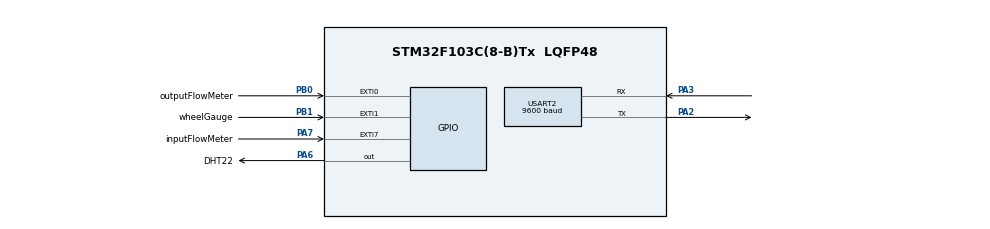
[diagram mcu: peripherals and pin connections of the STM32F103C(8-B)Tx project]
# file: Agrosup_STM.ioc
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Mcu.Family=STM32F1
TIM1.CounterMode=TIM_COUNTERMODE_UP
PA7.GPIO_ModeDefaultEXTI=GPIO_MODE_IT_FALLING
PA6.PinState=GPIO_PIN_SET
PA6.GPIO_Label=DHT22
PB0.GPIO_Label=outputFlowMeter
NVIC.TIM1_UP_IRQn=true\:0\:0\:false\:false\:true\:true\:true
VP_SYS_VS_ND.Mode=No_Debug
NVIC.USART2_IRQn=true\:1\:0\:true\:false\:true\:true\:true
USART2.BaudRate=9600
ProjectManager.StackSize=0x400
PA3.Mode=Asynchronous
TIM1.AutoReloadPreload=TIM_AUTORELOAD_PRELOAD_ENABLE
NVIC.EXTI1_IRQn=true\:1\:0\:true\:false\:true\:true\:true
TIM1.Prescaler=10000-1
ProjectManager.TargetToolchain=SW4STM32
PB1.GPIO_PuPd=GPIO_PULLUP
TIM3.Period=\ 0xffff-1
PB1.GPIO_ModeDefaultEXTI=GPIO_MODE_IT_FALLING
PA7.GPIO_PuPd=GPIO_PULLUP
board=custom
PB0.GPIO_ModeDefaultEXTI=GPIO_MODE_IT_FALLING
RCC.APB2Freq_Value=8000000
PA6.GPIO_PuPd=GPIO_PULLUP
TIM3.Prescaler=8-1
PB1.GPIO_Label=wheelGauge
Mcu.Name=STM32F103C(8-B)Tx
VP_TIM1_VS_ClockSourceINT.Mode=Internal
PA2.Signal=USART2_TX
NVIC.EXTI0_IRQn=true\:1\:0\:true\:false\:true\:true\:true
Mcu.Package=LQFP48
PB1.Signal=GPXTI1
PA6.Signal=GPIO_Output
PA7.GPIO_Label=inputFlowMeter
USART2.VirtualMode=VM_ASYNC
NVIC.EXTI9_5_IRQn=true\:1\:0\:true\:false\:true\:true\:true
ProjectManager.HeapSize=0x200
PA6.GPIO_ModeDefaultOutputPP=GPIO_MODE_OUTPUT_OD
NVIC.PriorityGroup=NVIC_PRIORITYGROUP_4
PA2.Mode=Asynchronous
TIM1.Period=240
RCC.APB1Freq_Value=8000000
PB0.Signal=GPXTI0
VP_TIM3_VS_ClockSourceINT.Mode=Internal
PB0.GPIO_PuPd=GPIO_PULLUP
PA3.Signal=USART2_RX
PA7.Signal=GPXTI7

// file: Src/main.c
/* USER CODE BEGIN Header */
/**
 ******************************************************************************
 * @file           : main.c
 * @brief          : Main program body
 ******************************************************************************
 * @attention
 *
 * <h2><center>&copy; Copyright (c) 2020 STMicroelectronics.
 * All rights reserved.</center></h2>
 *
 * This software component is licensed by ST under BSD 3-Clause license,
 * the "License"; You may not use this file except in compliance with the
 * License. You may obtain a copy of the License at:
 *                        opensource.org/licenses/BSD-3-Clause
 *
 ******************************************************************************
 */
/* USER CODE END Header */

#include "main.h"

/* USER CODE BEGIN Includes */
#include <stdio.h>
#include <stdlib.h>
#include <stdbool.h>
/* USER CODE END Includes */

TIM_HandleTypeDef htim1;
TIM_HandleTypeDef htim3;

UART_HandleTypeDef huart2;

/* USER CODE BEGIN PV */

// Bluetooth
int bluetoothReceivedArrayLenght = 10;
uint8_t data[50]; // Tablica przechowujaca wysylana wiadomosc.
uint16_t size = 0; // Rozmiar wysylanej wiadomosci
uint8_t Received[10];

// settings
int countImpulses = 0;

// Fuel combustion
float inputAmoutPerImpuls = 0.5336;      // ml per each impuls
float outputAmoutPerImpuls = 0.5336;      // ml per each impuls

// Received information
int totalInputImpuls;           // impulsy na wejsciu
int totalOutputImpuls;          // impulsy na powrocie
int countAverage = 0; 			// 0 - not count, 1 - count

// Current combustion
unsigned long previousTime; 	// ms
int totalInputImpulsPrevious;         // impulsy na wejsciu
int totalOutputImpulsPrevious;       // impulsy na powrocie
float previousCombustion;       // L/H

// Display
float totalCombustion;          // L
float currentCombustion;        // L/H

// Wheel gauge
// Received information
int machineWidth;				// cm
float distancePerImpuls; 			// m

int totalWheelImpuls;
unsigned long totalWheelImpulsPrevious;
unsigned long previousTime;

// Display
float area;						// ha
float velocity;					// km/h
// Temperature

float Temperature = 0;
float Humidity = 0;
uint8_t dht22[5];

/* USER CODE END PV */

void SystemClock_Config(void);
static void MX_GPIO_Init(void);
static void MX_USART2_UART_Init(void);
static void MX_TIM1_Init(void);
static void MX_TIM3_Init(void);
/* USER CODE BEGIN PFP */
void HAL_TIM_PeriodElapsedCallback(TIM_HandleTypeDef *htim);
void countTotalFuel();
void countCurrentFuel(int differenceTimeMs);
void countArea();
void countVelocity(int differenceTimeMs);
void HAL_GPIO_EXTI_Callback(uint16_t GPIO_Pin);
void delay_us(uint16_t us);
void sendData();
void HAL_UART_RxCpltCallback(UART_HandleTypeDef *huart);
int fetchValue(char letter, uint8_t data[]);

void delay_us(uint16_t us);
void Set_Pin_Output(GPIO_TypeDef *GPIOx, uint16_t GPIO_Pin);
void Set_Pin_Input(GPIO_TypeDef *GPIOx, uint16_t GPIO_Pin);
bool DHT_Start();
uint8_t read_dht11_dat(void);
float dht22_humidity();
float dht22_temperature();
/* USER CODE END PFP */

/* USER CODE BEGIN 0 */
void HAL_TIM_PeriodElapsedCallback(TIM_HandleTypeDef *htim) {
	//uart_write(&huart2, "tekst");
	// TIM1 - send data through bluetooth - interrupt 300ms
	// TIM2 - calculate current fuel combustion and velocity - interrupt 100ms
	if (htim->Instance == TIM1) {
		countCurrentFuel(300);
		countVelocity(300);
		countArea();
		countTotalFuel();
		sendData();

	}
}

void HAL_GPIO_EXTI_Callback(uint16_t GPIO_Pin) {
	if (GPIO_Pin == GPIO_PIN_7) {
		totalInputImpuls++;
	}
	if (GPIO_Pin == GPIO_PIN_0) {
		totalOutputImpuls++;
	}
	if (GPIO_Pin == GPIO_PIN_1) {
		totalWheelImpuls++;
	}

}

/*********************************** DHT22 FUNCTIONS ****************************************/

#define DHT22_PORT GPIOA
#define DHT22_PIN GPIO_PIN_6

void delay_us(uint16_t us) {
	__HAL_TIM_SET_COUNTER(&htim3, 0);  // set the counter value a 0
	while (__HAL_TIM_GET_COUNTER(&htim3) < us)
		;  // wait for the counter to reach the us input in the parameter
}

bool DHT_Start() {
	HAL_Delay(250);

	Set_Pin_Output(DHT22_PORT, DHT22_PIN); // set the pin as output
	HAL_GPIO_WritePin(DHT22_PORT, DHT22_PIN, 0);   // pull the pin low
	delay_us(1200);  // wait for > 1ms
	HAL_GPIO_WritePin(DHT22_PORT, DHT22_PIN, 1);   // pull the pin high
	delay_us(20);   // wait for 30u
	Set_Pin_Input(DHT22_PORT, DHT22_PIN);   // set as input

	while (HAL_GPIO_ReadPin(DHT22_PORT, DHT22_PIN)) {}
	delay_us(80);
	while (!(HAL_GPIO_ReadPin(DHT22_PORT, DHT22_PIN))) {}
	delay_us(80);

	for (int i = 0; i < 5; i++) {
		dht22[i] = read_dht11_dat();
	}

	if ((dht22[4] == ((dht22[0] + dht22[1] + dht22[2] + dht22[3]) & 0xFF))) {
		return true;
	}

	return false;
}

float dht22_humidity() {
	float f;
	f = dht22[0];
	f *= 256;
	f += dht22[1];
	f /= 10;
	return f;
}

float dht22_temperature() {
	float f;
	f = dht22[2] & 0x7F;
	f *= 256;
	f += dht22[3];
	f /= 10;
	return f;
}
uint8_t read_dht11_dat(void) {
	uint8_t i = 0;
	uint8_t result = 0;
	for (i = 0; i < 8; i++) {
		while (!HAL_GPIO_ReadPin(DHT22_PORT, DHT22_PIN))
			;  // wait for 50us
		delay_us(30);

		if (HAL_GPIO_ReadPin(DHT22_PORT, DHT22_PIN))
			result |= (1 << (7 - i));
		while (HAL_GPIO_ReadPin(DHT22_PORT, DHT22_PIN))
			;  // wait '1' finish
	}
	return result;
}

void readDHT() {
	HAL_Delay(2000);
	if (DHT_Start()) {
		Humidity = dht22_humidity();
		Temperature = dht22_temperature();
	}
}

void Set_Pin_Output(GPIO_TypeDef *GPIOx, uint16_t GPIO_Pin) {
	GPIO_InitTypeDef GPIO_InitStruct = { 0 };
	GPIO_InitStruct.Pin = GPIO_Pin;
	GPIO_InitStruct.Mode = GPIO_MODE_OUTPUT_PP;
	GPIO_InitStruct.Speed = GPIO_SPEED_FREQ_LOW;
	HAL_GPIO_Init(GPIOx, &GPIO_InitStruct);
}

void Set_Pin_Input(GPIO_TypeDef *GPIOx, uint16_t GPIO_Pin) {
	GPIO_InitTypeDef GPIO_InitStruct = { 0 };
	GPIO_InitStruct.Pin = GPIO_Pin;
	GPIO_InitStruct.Mode = GPIO_MODE_INPUT;
	GPIO_InitStruct.Pull = GPIO_PULLUP;
	HAL_GPIO_Init(GPIOx, &GPIO_InitStruct);
}

/*********************************** Fuel,Area FUNCTIONS ****************************************/

void countTotalFuel() {
	float totalInputFuel = totalInputImpuls * inputAmoutPerImpuls; 		// ml
	float totalOutputFuel = totalOutputImpuls * outputAmoutPerImpuls;	// ml
	totalCombustion = (totalInputFuel - totalOutputFuel) / 1000;		// L
}

void countCurrentFuel(int differenceTimeMs) {
	float differenceInputFuel = (totalInputImpuls - totalInputImpulsPrevious)
			* inputAmoutPerImpuls; 	// ml
	float differenceOutputFuel = (totalOutputImpuls - totalOutputImpulsPrevious)
			* outputAmoutPerImpuls;	// ml
	float differenceTime = differenceTimeMs / 3600000;	// hour
	currentCombustion = ((differenceInputFuel - differenceOutputFuel) / 1000)
			/ differenceTime;
	totalInputImpulsPrevious = totalInputImpuls;
	totalOutputImpulsPrevious = totalOutputImpuls;
}

void countArea() {
	float widthPerImpuls = machineWidth * distancePerImpuls;  // cm * m
	widthPerImpuls /= 100 * 10000; // convert to ha
	area = widthPerImpuls * totalWheelImpuls;
}

void countVelocity(int differenceTimeMs) {
	int wheelDistanceDifference = ((totalWheelImpuls - totalWheelImpulsPrevious)
			* distancePerImpuls) / 1000; // km
	float differenceTime = differenceTimeMs / 3600000;	// hour
	velocity = wheelDistanceDifference / differenceTime;
	totalWheelImpulsPrevious = totalWheelImpuls;
}

void sendData() {
	/*
	 float totalCombustion;          // L
	 float currentCombustion;        // L/H
	 float area;						// ha
	 float velocity;					// km/h
	 */

	if (countImpulses) {
		size = sprintf(data, "%d\r\n", totalWheelImpuls); // Stworzenie wiadomosci do wyslania oraz przypisanie ilosci wysylanych znakow do zmiennej size.
		HAL_UART_Transmit_IT(&huart2, data, size);
	} else {
		// TODO: check width and impluses != 0
		if (machineWidth && distancePerImpuls) {
			int a = totalCombustion * 100;
			int b = currentCombustion * 100;
			int c = area * 100;
			int d = velocity * 100;
			int e = Temperature * 100;
			int f = Humidity * 100;
			size = sprintf(data, "S%d,%d,%d,%d,%d,%d,K\r\n", a, b, c, d, e, f); // Stworzenie wiadomosci do wyslania oraz przypisanie ilosci wysylanych znakow do zmiennej size.
			HAL_UART_Transmit_IT(&huart2, data, size);
		}
	}

}

void HAL_UART_RxCpltCallback(UART_HandleTypeDef *huart) {
	// A - start counting impulses
	// B - stop counting impulses
	// C - set machine width
	// D - set impulses for 100m

	for (int i = 0; i < bluetoothReceivedArrayLenght; i++) {
		switch (Received[i]) {
		case 'A':
			totalWheelImpuls = 0;
			countImpulses = 1;
			break;
		case 'B':
			countImpulses = 0;
			break;
		case 'C':
			machineWidth = fetchValue('C', Received);
			break;
		case 'D':
			distancePerImpuls = fetchValue('D', Received) / 100;
			break;
		}

	}

	size = sprintf(data, "Odebrana wiadomosc: %s\n\r", Received);
	HAL_UART_Transmit_IT(&huart2, data, size); // Rozpoczecie nadawania danych z wykorzystaniem przerwan
	HAL_UART_Receive_IT(&huart2, Received, 10); // Ponowne w³¹czenie nas³uchiwania
}

int fetchValue(char letter, uint8_t data[]) {
	char value[10];

	for (int i = 0; i < bluetoothReceivedArrayLenght; i++) {
		if (data[i] == letter) {
			int j = i + 1;
			int l = 0;
			while (data[j] != ',') {
				if (j == bluetoothReceivedArrayLenght)
					break;
				value[l++] = data[j++];
			}
			return atoi(value);
		}
	}
	return 0;
}
/* USER CODE END 0 */

int main(void) {

	/* MCU Configuration--------------------------------------------------------*/

	/* Reset of all peripherals, Initializes the Flash interface and the Systick. */
	HAL_Init();

	/* Configure the system clock */
	SystemClock_Config();

	/* Initialize all configured peripherals */
	MX_GPIO_Init();
	MX_USART2_UART_Init();
	MX_TIM1_Init();
	MX_TIM3_Init();
	/* USER CODE BEGIN 2 */
	HAL_TIM_Base_Start_IT(&htim1);
	//HAL_TIM_Base_Start_IT(&htim2);
	HAL_TIM_Base_Start(&htim3);
	HAL_UART_Receive_IT(&huart2, Received, 10);
	/* USER CODE END 2 */

	/* Infinite loop */
	/* USER CODE BEGIN WHILE */
	while (1) {
		readDHT();
		/* USER CODE END WHILE */

	}
}

void SystemClock_Config(void) {
	RCC_OscInitTypeDef RCC_OscInitStruct = { 0 };
	RCC_ClkInitTypeDef RCC_ClkInitStruct = { 0 };

	/** Initializes the CPU, AHB and APB busses clocks
	 */
	RCC_OscInitStruct.OscillatorType = RCC_OSCILLATORTYPE_HSI;
	RCC_OscInitStruct.HSIState = RCC_HSI_ON;
	RCC_OscInitStruct.HSICalibrationValue = RCC_HSICALIBRATION_DEFAULT;
	RCC_OscInitStruct.PLL.PLLState = RCC_PLL_NONE;
	if (HAL_RCC_OscConfig(&RCC_OscInitStruct) != HAL_OK) {
		Error_Handler();
	}
	/** Initializes the CPU, AHB and APB busses clocks
	 */
	RCC_ClkInitStruct.ClockType = RCC_CLOCKTYPE_HCLK | RCC_CLOCKTYPE_SYSCLK
			| RCC_CLOCKTYPE_PCLK1 | RCC_CLOCKTYPE_PCLK2;
	RCC_ClkInitStruct.SYSCLKSource = RCC_SYSCLKSOURCE_HSI;
	RCC_ClkInitStruct.AHBCLKDivider = RCC_SYSCLK_DIV1;
	RCC_ClkInitStruct.APB1CLKDivider = RCC_HCLK_DIV1;
	RCC_ClkInitStruct.APB2CLKDivider = RCC_HCLK_DIV1;

	if (HAL_RCC_ClockConfig(&RCC_ClkInitStruct, FLASH_LATENCY_0) != HAL_OK) {
		Error_Handler();
	}
}

static void MX_TIM1_Init(void) {

	TIM_ClockConfigTypeDef sClockSourceConfig = { 0 };
	TIM_MasterConfigTypeDef sMasterConfig = { 0 };

	htim1.Instance = TIM1;
	htim1.Init.Prescaler = 10000 - 1;
	htim1.Init.CounterMode = TIM_COUNTERMODE_UP;
	htim1.Init.Period = 240;
	htim1.Init.ClockDivision = TIM_CLOCKDIVISION_DIV1;
	htim1.Init.RepetitionCounter = 0;
	htim1.Init.AutoReloadPreload = TIM_AUTORELOAD_PRELOAD_ENABLE;
	if (HAL_TIM_Base_Init(&htim1) != HAL_OK) {
		Error_Handler();
	}
	sClockSourceConfig.ClockSource = TIM_CLOCKSOURCE_INTERNAL;
	if (HAL_TIM_ConfigClockSource(&htim1, &sClockSourceConfig) != HAL_OK) {
		Error_Handler();
	}
	sMasterConfig.MasterOutputTrigger = TIM_TRGO_RESET;
	sMasterConfig.MasterSlaveMode = TIM_MASTERSLAVEMODE_DISABLE;
	if (HAL_TIMEx_MasterConfigSynchronization(&htim1, &sMasterConfig)
			!= HAL_OK) {
		Error_Handler();
	}

}

static void MX_TIM3_Init(void) {

	TIM_ClockConfigTypeDef sClockSourceConfig = { 0 };
	TIM_MasterConfigTypeDef sMasterConfig = { 0 };

	htim3.Instance = TIM3;
	htim3.Init.Prescaler = 8 - 1;
	htim3.Init.CounterMode = TIM_COUNTERMODE_UP;
	htim3.Init.Period = 0xffff - 1;
	htim3.Init.ClockDivision = TIM_CLOCKDIVISION_DIV1;
	htim3.Init.AutoReloadPreload = TIM_AUTORELOAD_PRELOAD_DISABLE;
	if (HAL_TIM_Base_Init(&htim3) != HAL_OK) {
		Error_Handler();
	}
	sClockSourceConfig.ClockSource = TIM_CLOCKSOURCE_INTERNAL;
	if (HAL_TIM_ConfigClockSource(&htim3, &sClockSourceConfig) != HAL_OK) {
		Error_Handler();
	}
	sMasterConfig.MasterOutputTrigger = TIM_TRGO_RESET;
	sMasterConfig.MasterSlaveMode = TIM_MASTERSLAVEMODE_DISABLE;
	if (HAL_TIMEx_MasterConfigSynchronization(&htim3, &sMasterConfig)
			!= HAL_OK) {
		Error_Handler();
	}

}

static void MX_USART2_UART_Init(void) {

	huart2.Instance = USART2;
	huart2.Init.BaudRate = 9600;
	huart2.Init.WordLength = UART_WORDLENGTH_8B;
	huart2.Init.StopBits = UART_STOPBITS_1;
	huart2.Init.Parity = UART_PARITY_NONE;
	huart2.Init.Mode = UART_MODE_TX_RX;
	huart2.Init.HwFlowCtl = UART_HWCONTROL_NONE;
	huart2.Init.OverSampling = UART_OVERSAMPLING_16;
	if (HAL_UART_Init(&huart2) != HAL_OK) {
		Error_Handler();
	}

}

static void MX_GPIO_Init(void) {
	GPIO_InitTypeDef GPIO_InitStruct = { 0 };

	/* GPIO Ports Clock Enable */
	__HAL_RCC_GPIOA_CLK_ENABLE()
	;
	__HAL_RCC_GPIOB_CLK_ENABLE()
	;

	/*Configure GPIO pin Output Level */
	HAL_GPIO_WritePin(DHT22_GPIO_Port, DHT22_Pin, GPIO_PIN_SET);

	/*Configure GPIO pin : DHT22_Pin */
	GPIO_InitStruct.Pin = DHT22_Pin;
	GPIO_InitStruct.Mode = GPIO_MODE_OUTPUT_OD;
	GPIO_InitStruct.Pull = GPIO_PULLUP;
	GPIO_InitStruct.Speed = GPIO_SPEED_FREQ_LOW;
	HAL_GPIO_Init(DHT22_GPIO_Port, &GPIO_InitStruct);

	/*Configure GPIO pin : inputFlowMeter_Pin */
	GPIO_InitStruct.Pin = inputFlowMeter_Pin;
	GPIO_InitStruct.Mode = GPIO_MODE_IT_FALLING;
	GPIO_InitStruct.Pull = GPIO_PULLUP;
	HAL_GPIO_Init(inputFlowMeter_GPIO_Port, &GPIO_InitStruct);

	/*Configure GPIO pins : outputFlowMeter_Pin wheelGauge_Pin */
	GPIO_InitStruct.Pin = outputFlowMeter_Pin | wheelGauge_Pin;
	GPIO_InitStruct.Mode = GPIO_MODE_IT_FALLING;
	GPIO_InitStruct.Pull = GPIO_PULLUP;
	HAL_GPIO_Init(GPIOB, &GPIO_InitStruct);

	/* EXTI interrupt init*/
	HAL_NVIC_SetPriority(EXTI0_IRQn, 1, 0);
	HAL_NVIC_EnableIRQ(EXTI0_IRQn);

	HAL_NVIC_SetPriority(EXTI1_IRQn, 1, 0);
	HAL_NVIC_EnableIRQ(EXTI1_IRQn);

	HAL_NVIC_SetPriority(EXTI9_5_IRQn, 1, 0);
	HAL_NVIC_EnableIRQ(EXTI9_5_IRQn);

}

void Error_Handler(void) {
}

/************************ (C) COPYRIGHT STMicroelectronics *****END OF FILE****/
